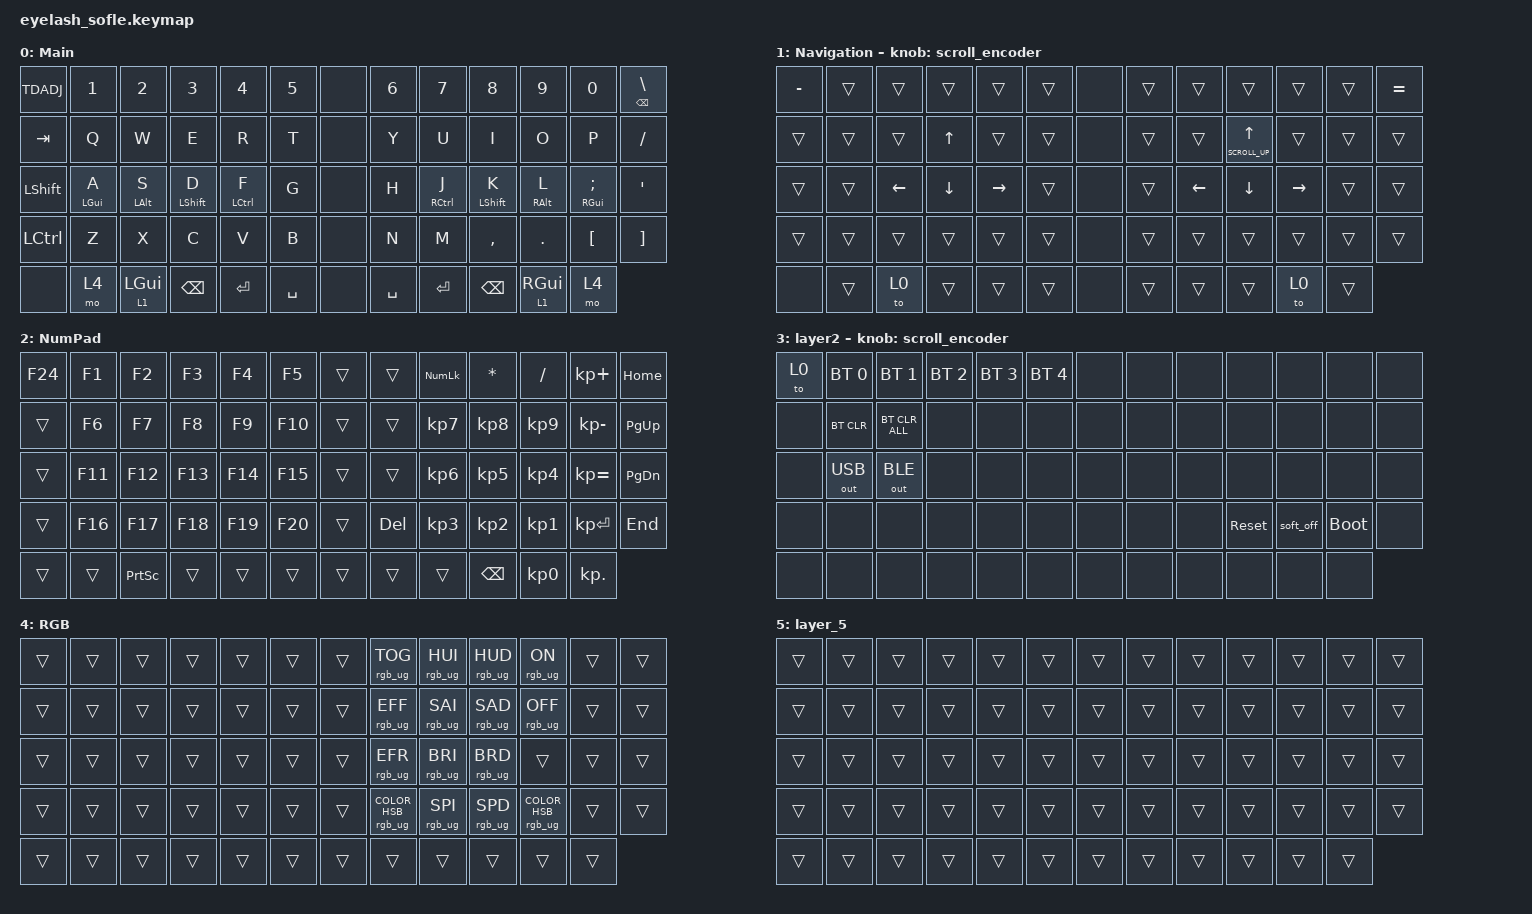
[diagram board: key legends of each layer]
// ============================================================
// Sofle (Eyelash) keymap — 9 слоёв
// Слои 0-4: рабочие (редактируются в ZMK Studio)
// Слои 5-8: зарезервированы для ZMK Studio (status = "reserved")
//           в обычной прошивке не занимают RAM,
//           в Studio-сборке становятся доступными
// ============================================================
// --- Настройки скорости мыши ---
// Увеличенные значения относительно стандартных (600 и 10)

#define ZMK_POINTING_DEFAULT_MOVE_VAL 1200  // 600
#define ZMK_POINTING_DEFAULT_SCRL_VAL 25   // 10

#include <input/processors.dtsi>
#include <zephyr/dt-bindings/input/input-event-codes.h>
#include <behaviors.dtsi>
#include <dt-bindings/zmk/bt.h>
#include <dt-bindings/zmk/keys.h>
#include <dt-bindings/zmk/outputs.h>
#include <dt-bindings/zmk/pointing.h>
#include <dt-bindings/zmk/rgb.h>

// --- Масштабирование движения мыши и скролла ---

&mmv_input_listener { input-processors = <&zip_xy_scaler 2 1>; };

&msc_input_listener { input-processors = <&zip_scroll_scaler 2 1>; };

// --- Физика скролла: быстрый старт, без задержки ---

&msc {
    acceleration-exponent = <1>;
    time-to-max-speed-ms = <100>;
    delay-ms = <0>;
};

// --- Физика движения курсора: плавный разгон за 500мс ---

&mmv {
    time-to-max-speed-ms = <500>;
    acceleration-exponent = <1>;
    trigger-period-ms = <16>;
};

// --- Soft Off: нужно держать комбо 2 секунды ---

&soft_off { hold-time-ms = <2000>; };

&lt {
    bindings = <&kp>, <&kp>;
};

/ {
    // --- Поведение энкодера: скролл вверх/вниз ---
    // Используется на слоях 1 и 2 вместо регулировки громкости

    scroll_encoder: scroll_encoder {
        compatible = "zmk,behavior-sensor-rotate";
        #sensor-binding-cells = <0>;
        bindings = <&msc SCRL_DOWN>, <&msc SCRL_UP>;

        tap-ms = <100>;
    };

    TDADJ: TDADJ {
        compatible = "zmk,behavior-tap-dance";
        label = "TDADJ";
        #binding-cells = <0>;
        bindings = <&kp ESC>, <&sl 3>, <&none>, <&none>, <&none>;
    };

    behaviors {
        // Здесь можно добавлять свои кастомные behaviors:
        // hold-tap, tap-dance, mod-morph и т.д.
        // Пример hold-tap (раскомментируй и настрой по вкусу):
        //
        // hm: homerow_mods {
        //     compatible = "zmk,behavior-hold-tap";
        //     #binding-cells = <2>;
        //     tapping-term-ms = <200>;
        //     quick-tap-ms = <0>;
        //     flavor = "tap-preferred";
        //     bindings = <&kp>, <&kp>;
        // };
    };

    combos {
        compatible = "zmk,combos";

        // Комбо Q+S+Z (позиции 14, 28, 40) = Soft Off
        // Нужно держать 2 секунды (настроено выше в &soft_off)

        softoff {
            bindings = <&soft_off>;
            key-positions = <14 28 40>;
        };

        NP_L {
            bindings = <&tog 2>;
            key-positions = <57 56>;
        };
    };

    macros {
        // Макрос: одновременно Shift + средняя кнопка мыши
        // Можно назначить на любую клавишу через ZMK Studio

        SHIFT_MCLK: SHIFT_MCLK {
            compatible = "zmk,behavior-macro";
            #binding-cells = <0>;
            bindings =
                <&macro_press>,
                <&kp LEFT_SHIFT>,
                <&macro_press>,
                <&mkp MB3>,
                <&macro_pause_for_release>,
                <&macro_release>,
                <&kp LEFT_SHIFT &mkp MB3>;

            label = "SHIFT_MCLK";
        };
    };

    keymap {
        compatible = "zmk,keymap";

        // ====================================================
        // СЛОЙ 0 — Базовый (всегда активен)
        // Стандартная QWERTY раскладка
        // mo 1 = левый большой палец = временно слой 1
        // mo 2 = правый большой палец = временно слой 2
        // ====================================================

        Main {
            bindings = <
&TDADJ          &kp N1          &kp N2          &kp N3            &kp N4       &kp N5       &none  &kp N6     &kp N7       &kp N8            &kp N9           &kp N0              &mt BACKSPACE BACKSLASH
&kp TAB         &kp Q           &kp W           &kp E             &kp R        &kp T        &none  &kp Y      &kp U        &kp I             &kp O            &kp P               &kp SLASH
&kp LEFT_SHIFT  &mt LEFT_GUI A  &mt LEFT_ALT S  &mt LEFT_SHIFT D  &mt LCTRL F  &kp G        &none  &kp H      &mt RCTRL J  &mt LEFT_SHIFT K  &mt RIGHT_ALT L  &mt RIGHT_GUI SEMI  &kp APOS
&kp LCTRL       &kp Z           &kp X           &kp C             &kp V        &kp B        &none  &kp N      &kp M        &kp COMMA         &kp DOT          &kp LEFT_BRACKET    &kp RIGHT_BRACKET
&none           &mo 4           &lt 1 LEFT_GUI  &kp BACKSPACE     &kp RET      &kp SPACE    &none  &kp SPACE  &kp ENTER    &kp BACKSPACE     &lt 1 RIGHT_GUI  &mo 4
            >;

            display-name = "Main";
        };

        Navigation {
            bindings = <
&kp MINUS  &trans  &trans    &trans    &trans     &trans    &none  &trans  &trans    &trans                    &trans     &trans  &kp EQUAL
&trans     &trans  &trans    &kp UP    &trans     &trans    &none  &trans  &trans    &mt K_SCROLL_UP UP_ARROW  &trans     &trans  &trans
&trans     &trans  &kp LEFT  &kp DOWN  &kp RIGHT  &trans    &none  &trans  &kp LEFT  &kp DOWN                  &kp RIGHT  &trans  &trans
&trans     &trans  &trans    &trans    &trans     &trans    &none  &trans  &trans    &trans                    &trans     &trans  &trans
&none      &trans  &to 0     &trans    &trans     &trans    &none  &trans  &trans    &trans                    &to 0      &trans
            >;

            display-name = "Navigation";
            sensor-bindings = <&scroll_encoder>;
        };

        NumPad {
            bindings = <
&kp F24  &kp F1   &kp F2           &kp F3   &kp F4   &kp F5     &trans  &trans   &kp KP_NUM  &kp ASTERISK   &kp SLASH  &kp KP_PLUS   &kp HOME
&trans   &kp F6   &kp F7           &kp F8   &kp F9   &kp F10    &trans  &trans   &kp KP_N7   &kp KP_N8      &kp KP_N9  &kp KP_MINUS  &kp PG_UP
&trans   &kp F11  &kp F12          &kp F13  &kp F14  &kp F15    &trans  &trans   &kp KP_N6   &kp KP_N5      &kp KP_N4  &kp KP_EQUAL  &kp PG_DN
&trans   &kp F16  &kp F17          &kp F18  &kp F19  &kp F20    &trans  &kp DEL  &kp KP_N3   &kp KP_N2      &kp KP_N1  &kp KP_ENTER  &kp END
&trans   &trans   &kp PRINTSCREEN  &trans   &trans   &trans     &trans  &trans   &trans      &kp BACKSPACE  &kp KP_N0  &kp KP_DOT
            >;

            label = "NumPad";
        };

        Adjust {
            bindings = <
&to 0  &bt BT_SEL 0  &bt BT_SEL 1    &bt BT_SEL 2  &bt BT_SEL 3  &bt BT_SEL 4    &none  &none  &none  &none       &none      &none        &none
&none  &bt BT_CLR    &bt BT_CLR_ALL  &none         &none         &none           &none  &none  &none  &none       &none      &none        &none
&none  &out OUT_USB  &out OUT_BLE    &none         &none         &none           &none  &none  &none  &none       &none      &none        &none
&none  &none         &none           &none         &none         &none           &none  &none  &none  &sys_reset  &soft_off  &bootloader  &none
&none  &none         &none           &none         &none         &none           &none  &none  &none  &none       &none      &none
            >;

            display-name = "layer2";
            sensor-bindings = <&scroll_encoder>;
            label = "Adjust";
        };

        RGB {
            bindings = <
&trans  &trans  &trans  &trans  &trans  &trans    &trans  &rgb_ug RGB_TOG                  &rgb_ug RGB_HUI  &rgb_ug RGB_HUD  &rgb_ug RGB_ON                     &trans  &trans
&trans  &trans  &trans  &trans  &trans  &trans    &trans  &rgb_ug RGB_EFF                  &rgb_ug RGB_SAI  &rgb_ug RGB_SAD  &rgb_ug RGB_OFF                    &trans  &trans
&trans  &trans  &trans  &trans  &trans  &trans    &trans  &rgb_ug RGB_EFR                  &rgb_ug RGB_BRI  &rgb_ug RGB_BRD  &trans                             &trans  &trans
&trans  &trans  &trans  &trans  &trans  &trans    &trans  &rgb_ug RGB_COLOR_HSB(0,100,50)  &rgb_ug RGB_SPI  &rgb_ug RGB_SPD  &rgb_ug RGB_COLOR_HSB(154,100,37)  &trans  &trans
&trans  &trans  &trans  &trans  &trans  &trans    &trans  &trans                           &trans           &trans           &trans                             &trans
            >;

            label = "RGB";
        };

        layer_5 {
            bindings = <
&trans  &trans  &trans  &trans  &trans  &trans    &trans  &trans  &trans  &trans  &trans  &trans  &trans
&trans  &trans  &trans  &trans  &trans  &trans    &trans  &trans  &trans  &trans  &trans  &trans  &trans
&trans  &trans  &trans  &trans  &trans  &trans    &trans  &trans  &trans  &trans  &trans  &trans  &trans
&trans  &trans  &trans  &trans  &trans  &trans    &trans  &trans  &trans  &trans  &trans  &trans  &trans
&trans  &trans  &trans  &trans  &trans  &trans    &trans  &trans  &trans  &trans  &trans  &trans
            >;
        };
    };
};
